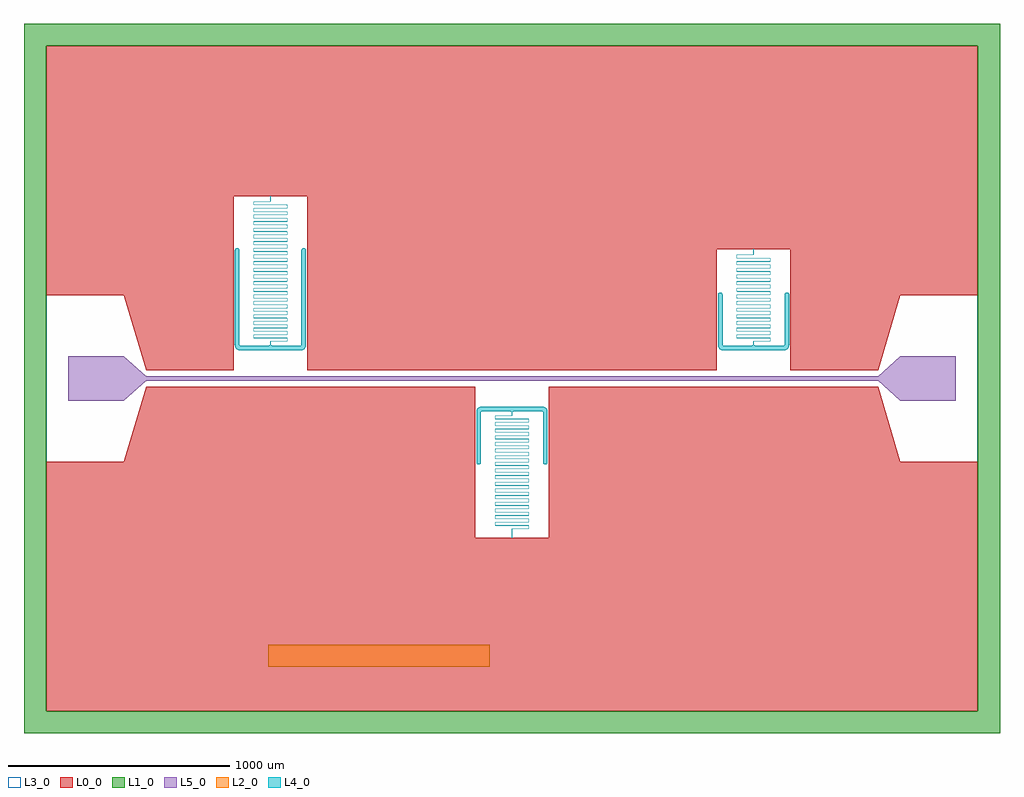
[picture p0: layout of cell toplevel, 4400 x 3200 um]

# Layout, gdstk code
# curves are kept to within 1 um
import gdstk
lib = gdstk.Library(unit=1e-6, precision=1e-09)
def R(c, l, rs):  # rectangles x0, y0, x1, y1
    for r in rs: c.add(gdstk.rectangle(r[:2], r[2:], *l))
def P(c, l, *ps):  # polygons
    for p in ps: c.add(gdstk.Polygon(p, *l))
L0_0 = (0, 0)
L1_0 = (1, 0)
L2_0 = (2, 0)
L3_0 = (3, 0)
L4_0 = (4, 0)
L5_0 = (5, 0)

toplevel = lib.new_cell('toplevel')
P(toplevel, L0_0, [(-924,822.5),(-924,37.5),(924,37.5),(924,582.5),(1254,582.5),(1254,37.5),(1650,37.5),(1750,375),(2100,375),(2100,1500),(-2100,1500),(-2100,375),(-1750,375),(-1650,37.5),(-1254,37.5),(-1254,822.5)],
  [(1650,-37.5),(165,-37.5),(165,-717.5),(-165,-717.5),(-165,-37.5),(-1650,-37.5),(-1750,-375),(-2100,-375),(-2100,-1500),(2100,-1500),(2100,-375),(1750,-375)])
P(toplevel, L1_0, [(2200,1600),(-2200,1600),(-2200,-1500),(-2100,-1500),(-2100,1500),(2100,1500),(2100,-1500),(-2100,-1500),(-2200,-1500),(-2200,-1600),(2200,-1600)])
R(toplevel, L2_0, [(-1100,-1300,-100,-1200)])
R(toplevel, L3_0, [(-2100,-1500,2100,1500)])
P(toplevel, L4_0, [(-957.256,127.5),(-946.018,128.652),(-937.664,132.765),(-931.925,139.852),(-929.25,149.469),(-929,392.861),(-949,392.861),(-949.028,153.36),(-950.06,148.461),(-956.931,147.5),(-1079,147.5),(-1088.7,152.5),(-1088.291,167.175),(-1014.361,167.305),(-1013.703,168.388),(-1013.702,181.589),(-1014.584,182.762),(-1163.666,183.172),(-1163.696,196.609),(-1163.132,197.195),(-1013.928,197.636),(-1013.704,211.63),(-1014.73,212.785),(-1162.888,212.8),(-1163.7,213.606),(-1163.176,227.191),(-1013.961,227.593),(-1013.707,241.683),(-1014.755,242.787),(-1162.94,242.8),(-1163.7,243.591),(-1163.184,257.19),(-1014.035,257.513),(-1013.707,271.683),(-1014.755,272.787),(-1162.94,272.8),(-1163.7,273.591),(-1163.184,287.19),(-1014.118,287.442),(-1013.707,301.683),(-1014.755,302.787),(-1162.935,302.8),(-1163.7,303.591),(-1163.184,317.19),(-1014.211,317.379),(-1013.702,331.56),(-1014.755,332.787),(-1162.935,332.8),(-1163.699,333.48),(-1163.184,347.19),(-1014.407,347.287),(-1013.706,348.346),(-1013.702,361.56),(-1014.755,362.787),(-1162.935,362.8),(-1163.699,363.476),(-1163.184,377.19),(-1014.571,377.241),(-1013.706,378.34),(-1013.702,391.56),(-1015.111,392.8),(-1164.195,392.861),(-1162.964,392.2),(-1014.428,392.03),(-1014.798,377.812),(-1162.888,377.8),(-1163.959,377.492),(-1164.3,376.404),(-1164.287,363.249),(-1163.251,362.213),(-1014.458,362.061),(-1014.798,347.812),(-1162.888,347.8),(-1163.959,347.492),(-1164.3,346.404),(-1164.295,333.352),(-1163.251,332.213),(-1014.535,332.115),(-1014.798,317.812),(-1162.888,317.8),(-1163.959,317.492),(-1164.3,316.404),(-1164.289,303.274),(-1163.251,302.213),(-1014.686,302.17),(-1014.605,287.854),(-1163.245,287.787),(-1164.292,286.683),(-1164.3,273.59),(-1162.97,272.2),(-1014.815,272.19),(-1014.466,257.932),(-1163.245,257.787),(-1164.292,256.683),(-1164.3,243.59),(-1162.97,242.2),(-1014.815,242.19),(-1014.433,227.964),(-1163.251,227.787),(-1164.294,226.665),(-1164.3,213.595),(-1163.987,212.535),(-1162.888,212.2),(-1014.85,212.193),(-1014.303,211.595),(-1014.3,198.612),(-1015.112,197.8),(-1163.238,197.788),(-1164.294,196.654),(-1164.3,183.612),(-1163.982,182.53),(-1162.888,182.2),(-1014.811,182.19),(-1014.45,167.946),(-1088.481,167.746),(-1089.296,166.612),(-1089.3,152.5),(-1099,147.5),(-1221.878,147.504),(-1227.976,148.489),(-1228.998,154.94),(-1229,392.861),(-1249,392.861),(-1248.965,152.829),(-1246.945,141.792),(-1244.619,137.373),(-1241.507,133.761),(-1233.471,129.103),(-1223.255,127.524)],
  [(-1163.433,392.869),(-1163.631,393.067),(-1163.699,393.471),(-1163.698,406.567),(-1163.572,407.03),(-1163.184,407.19),(-1015.036,407.2),(-1014.526,407.252),(-1014.142,407.424),(-1013.875,407.718),(-1013.73,408.129),(-1013.707,421.677),(-1013.797,422.119),(-1014.007,422.459),(-1014.328,422.681),(-1014.755,422.787),(-1162.935,422.8),(-1163.476,422.891),(-1163.678,423.229),(-1163.698,436.567),(-1163.572,437.03),(-1163.184,437.19),(-1015.036,437.2),(-1014.532,437.25),(-1014.148,437.42),(-1013.883,437.705),(-1013.733,438.11),(-1013.707,451.677),(-1013.797,452.119),(-1014.007,452.459),(-1014.328,452.681),(-1014.755,452.787),(-1162.935,452.8),(-1163.471,452.888),(-1163.675,453.213),(-1163.698,466.567),(-1163.572,467.03),(-1163.184,467.19),(-1015.036,467.2),(-1014.532,467.25),(-1014.155,467.415),(-1013.887,467.699),(-1013.737,468.091),(-1013.707,481.677),(-1013.797,482.119),(-1014.007,482.459),(-1014.328,482.681),(-1014.755,482.787),(-1162.935,482.8),(-1163.468,482.887),(-1163.673,483.201),(-1163.698,496.567),(-1163.572,497.03),(-1163.18,497.191),(-1015.041,497.2),(-1014.545,497.247),(-1014.167,497.407),(-1013.898,497.68),(-1013.743,498.065),(-1013.707,511.677),(-1013.797,512.119),(-1014.007,512.459),(-1014.328,512.681),(-1014.755,512.787),(-1162.93,512.8),(-1163.46,512.882),(-1163.67,513.186),(-1163.698,526.567),(-1163.572,527.03),(-1163.18,527.191),(-1015.041,527.2),(-1014.552,527.245),(-1014.18,527.398),(-1013.907,527.667),(-1013.749,528.039),(-1013.707,541.678),(-1013.797,542.119),(-1014.007,542.459),(-1014.328,542.681),(-1014.755,542.787),(-1162.93,542.8),(-1163.454,542.879),(-1163.665,543.168),(-1163.698,556.567),(-1163.572,557.03),(-1163.18,557.191),(-1015.041,557.2),(-1014.558,557.244),(-1014.192,557.39),(-1013.92,557.648),(-1013.757,558.006),(-1013.707,571.672),(-1013.795,572.112),(-1014.002,572.453),(-1014.328,572.681),(-1014.755,572.787),(-1162.93,572.8),(-1163.445,572.875),(-1163.66,573.15),(-1163.698,586.563),(-1163.572,587.03),(-1163.18,587.191),(-1015.041,587.2),(-1014.205,587.383),(-1013.937,587.624),(-1013.768,587.967),(-1013.7,588.547),(-1013.707,601.672),(-1013.795,602.112),(-1014.002,602.453),(-1014.328,602.681),(-1014.755,602.787),(-1162.93,602.8),(-1163.436,602.871),(-1163.654,603.129),(-1163.698,616.563),(-1163.572,617.03),(-1163.18,617.191),(-1015.047,617.2),(-1014.231,617.368),(-1013.961,617.593),(-1013.783,617.921),(-1013.7,618.541),(-1013.707,631.672),(-1013.795,632.112),(-1014.002,632.453),(-1014.328,632.681),(-1014.755,632.787),(-1162.925,632.8),(-1163.421,632.864),(-1163.645,633.102),(-1163.698,646.563),(-1163.572,647.03),(-1163.18,647.191),(-1015.047,647.2),(-1014.25,647.357),(-1013.981,647.57),(-1013.802,647.868),(-1013.7,648.53),(-1013.706,661.665),(-1013.795,662.112),(-1014.002,662.453),(-1014.328,662.681),(-1014.755,662.787),(-1162.925,662.8),(-1163.405,662.858),(-1163.633,663.073),(-1163.7,663.55),(-1163.698,676.558),(-1163.574,677.028),(-1163.18,677.191),(-1015.052,677.2),(-1014.283,677.34),(-1013.831,677.802),(-1013.7,678.519),(-1013.706,691.659),(-1013.795,692.112),(-1014.002,692.453),(-1014.328,692.681),(-1014.755,692.787),(-1162.92,692.8),(-1163.385,692.85),(-1163.618,693.04),(-1163.7,693.54),(-1163.698,706.558),(-1163.574,707.028),(-1163.18,707.191),(-1015.058,707.2),(-1014.328,707.319),(-1013.871,707.724),(-1013.7,708.503),(-1013.706,721.653),(-1013.792,722.106),(-1014.002,722.453),(-1014.328,722.681),(-1014.755,722.787),(-1162.92,722.8),(-1163.361,722.843),(-1163.596,723.003),(-1163.7,723.53),(-1163.698,736.553),(-1163.574,737.028),(-1163.18,737.191),(-1015.063,737.2),(-1014.388,737.295),(-1013.937,737.624),(-1013.76,737.993),(-1013.701,738.48),(-1013.705,751.642),(-1013.79,752.099),(-1013.997,752.448),(-1014.322,752.678),(-1014.749,752.787),(-1162.914,752.8),(-1163.328,752.834),(-1163.565,752.962),(-1163.7,753.52),(-1163.699,766.544),(-1163.575,767.025),(-1163.18,767.191),(-1015.074,767.2),(-1014.473,767.266),(-1014.047,767.502),(-1013.79,767.901),(-1013.701,768.452),(-1013.704,781.618),(-1013.785,782.086),(-1013.991,782.442),(-1014.315,782.675),(-1014.749,782.787),(-1162.909,782.8),(-1163.514,782.916),(-1163.654,783.129),(-1163.699,783.5),(-1163.699,796.505),(-1163.602,796.987),(-1163.287,797.175),(-1090.069,797.2),(-1089.257,797.354),(-1088.843,797.776),(-1088.701,798.457),(-1088.7,822.5),(-1089.3,822.5),(-1089.3,798.52),(-1089.355,798.102),(-1089.535,797.885),(-1090.08,797.8),(-1163.416,797.761),(-1163.795,797.617),(-1164.067,797.37),(-1164.236,797.02),(-1164.298,796.571),(-1164.298,783.429),(-1164.184,782.835),(-1163.864,782.428),(-1163.461,782.249),(-1162.92,782.2),(-1014.82,782.191),(-1014.425,782.025),(-1014.301,781.539),(-1014.3,768.51),(-1014.456,767.941),(-1015.091,767.8),(-1163.251,767.787),(-1163.685,767.675),(-1164.008,767.442),(-1164.213,767.092),(-1164.296,766.63),(-1164.299,753.463),(-1164.226,752.947),(-1164.014,752.564),(-1163.573,752.281),(-1162.931,752.2),(-1014.82,752.191),(-1014.425,752.025),(-1014.302,751.548),(-1014.3,738.525),(-1014.418,737.984),(-1014.653,737.839),(-1015.086,737.8),(-1163.245,737.787),(-1163.678,737.678),(-1164.003,737.448),(-1164.21,737.099),(-1164.295,736.648),(-1164.299,723.491),(-1164.25,723.032),(-1164.097,722.673),(-1163.645,722.308),(-1162.937,722.2),(-1014.82,722.191),(-1014.426,722.028),(-1014.302,721.553),(-1014.3,708.54),(-1014.391,708.024),(-1014.625,707.847),(-1015.08,707.8),(-1163.245,707.787),(-1163.671,707.681),(-1163.998,707.453),(-1164.205,707.112),(-1164.294,706.659),(-1164.3,693.508),(-1164.15,692.763),(-1163.698,692.331),(-1162.948,692.2),(-1014.82,692.191),(-1014.426,692.028),(-1014.302,691.558),(-1014.3,678.545),(-1014.373,678.058),(-1014.602,677.855),(-1015.075,677.8),(-1163.245,677.787),(-1163.671,677.681),(-1163.998,677.453),(-1164.205,677.112),(-1164.294,676.665),(-1164.3,663.525),(-1164.184,662.835),(-1163.73,662.347),(-1162.948,662.2),(-1014.82,662.191),(-1014.426,662.028),(-1014.302,661.558),(-1014.36,648.089),(-1014.586,647.861),(-1015.075,647.8),(-1163.245,647.787),(-1163.671,647.681),(-1163.998,647.453),(-1164.205,647.112),(-1164.294,646.665),(-1164.3,633.536),(-1164.208,632.894),(-1164.029,632.582),(-1163.763,632.364),(-1162.953,632.2),(-1014.82,632.191),(-1014.428,632.03),(-1014.302,631.563),(-1014.35,618.115),(-1014.573,617.867),(-1015.075,617.8),(-1163.245,617.787),(-1163.671,617.681),(-1163.998,617.453),(-1164.205,617.112),(-1164.293,616.672),(-1164.3,603.547),(-1164.226,602.947),(-1164.053,602.612),(-1163.782,602.375),(-1162.953,602.2),(-1014.82,602.191),(-1014.428,602.03),(-1014.302,601.563),(-1014.343,588.139),(-1014.561,587.872),(-1015.07,587.8),(-1163.245,587.787),(-1163.671,587.681),(-1163.998,587.453),(-1164.205,587.112),(-1164.293,586.672),(-1164.238,572.987),(-1164.071,572.636),(-1163.801,572.387),(-1163.435,572.243),(-1162.959,572.2),(-1014.82,572.191),(-1014.428,572.03),(-1014.302,571.563),(-1014.337,558.16),(-1014.549,557.878),(-1015.07,557.8),(-1163.245,557.787),(-1163.671,557.681),(-1163.992,557.459),(-1164.203,557.119),(-1164.293,556.678),(-1164.246,543.019),(-1164.085,542.655),(-1163.814,542.394),(-1163.441,542.244),(-1162.959,542.2),(-1014.82,542.191),(-1014.428,542.03),(-1014.302,541.567),(-1014.332,528.179),(-1014.543,527.881),(-1015.07,527.8),(-1163.245,527.787),(-1163.671,527.681),(-1163.992,527.459),(-1164.203,527.119),(-1164.293,526.678),(-1164.254,513.052),(-1164.097,512.673),(-1163.827,512.403),(-1163.454,512.247),(-1162.959,512.2),(-1014.82,512.191),(-1014.428,512.03),(-1014.302,511.567),(-1014.329,498.194),(-1014.535,497.885),(-1015.065,497.8),(-1163.245,497.787),(-1163.671,497.681),(-1163.992,497.459),(-1164.203,497.119),(-1164.293,496.677),(-1164.26,483.078),(-1164.105,482.686),(-1163.839,482.411),(-1163.461,482.249),(-1162.964,482.2),(-1014.815,482.19),(-1014.428,482.03),(-1014.302,481.567),(-1014.325,468.209),(-1014.529,467.888),(-1015.065,467.8),(-1163.245,467.787),(-1163.671,467.681),(-1163.992,467.459),(-1164.203,467.119),(-1164.293,466.677),(-1164.264,453.097),(-1164.113,452.699),(-1163.845,452.415),(-1163.468,452.25),(-1162.964,452.2),(-1014.815,452.19),(-1014.428,452.03),(-1014.302,451.567),(-1014.323,438.221),(-1014.526,437.89),(-1015.065,437.8),(-1163.245,437.787),(-1163.671,437.681),(-1163.992,437.459),(-1164.203,437.119),(-1164.293,436.677),(-1164.269,423.123),(-1164.121,422.711),(-1163.852,422.42),(-1163.468,422.25),(-1162.964,422.2),(-1014.815,422.19),(-1014.428,422.03),(-1014.302,421.567),(-1014.321,408.233),(-1014.521,407.893),(-1015.065,407.8),(-1163.245,407.787),(-1163.717,407.66),(-1164.058,407.382),(-1164.25,406.968),(-1164.3,406.404),(-1164.294,393.334),(-1164.195,392.861)],
  [(-1229,577.5),(-1231.627,584.256),(-1238.564,587.49),(-1245.756,584.873),(-1248.962,578.372),(-1249,392.861),(-1229,392.861)],
  [(-929,577.5),(-931.627,584.256),(-938.564,587.49),(-945.756,584.873),(-948.962,578.372),(-949,392.861),(-929,392.861)],
  [(-149.564,-387.49),(-143.244,-384.873),(-140.152,-379.236),(-140,-333.11),(-160,-333.11),(-159.848,-379.236),(-156.088,-385.433)],
  [(0.3,-678.55),(0.439,-677.958),(0.956,-677.801),(74.468,-677.75),(74.833,-677.593),(75.113,-677.301),(75.257,-676.935),(75.3,-676.388),(75.295,-663.364),(75.102,-662.68),(74.652,-662.31),(73.926,-662.2),(-74.18,-662.191),(-74.575,-662.025),(-74.699,-661.544),(-74.7,-648.52),(-74.648,-648.112),(-74.494,-647.902),(-73.914,-647.8),(74.251,-647.787),(74.678,-647.678),(75.003,-647.448),(75.21,-647.099),(75.295,-646.642),(75.299,-633.48),(75.208,-632.894),(74.918,-632.471),(74.468,-632.25),(73.937,-632.2),(-74.18,-632.191),(-74.574,-632.028),(-74.698,-631.553),(-74.7,-618.53),(-74.554,-617.95),(-74.321,-617.832),(-73.92,-617.8),(74.245,-617.787),(74.671,-617.681),(74.998,-617.453),(75.208,-617.106),(75.294,-616.653),(75.299,-603.503),(75.234,-602.973),(75.039,-602.593),(74.599,-602.29),(73.942,-602.2),(-74.18,-602.191),(-74.574,-602.028),(-74.698,-601.558),(-74.7,-588.54),(-74.599,-588.008),(-74.385,-587.85),(-73.92,-587.8),(74.245,-587.787),(74.671,-587.681),(74.998,-587.453),(75.205,-587.112),(75.294,-586.659),(75.3,-573.519),(75.129,-572.724),(74.639,-572.305),(73.948,-572.2),(-74.18,-572.191),(-74.574,-572.028),(-74.698,-571.558),(-74.7,-558.55),(-74.615,-558.035),(-74.361,-557.843),(-73.925,-557.8),(74.245,-557.787),(74.671,-557.681),(74.998,-557.453),(75.205,-557.112),(75.294,-556.665),(75.3,-543.53),(75.163,-542.789),(74.75,-542.357),(73.953,-542.2),(-74.18,-542.191),(-74.572,-542.03),(-74.698,-541.563),(-74.7,-528.555),(-74.626,-528.058),(-74.378,-527.848),(-73.925,-527.8),(74.245,-527.787),(74.671,-527.681),(74.998,-527.453),(75.205,-527.112),(75.293,-526.672),(75.3,-513.541),(75.181,-512.828),(74.982,-512.529),(74.691,-512.328),(73.953,-512.2),(-74.18,-512.191),(-74.572,-512.03),(-74.698,-511.563),(-74.7,-498.56),(-74.637,-498.082),(-74.392,-497.853),(-73.93,-497.8),(74.245,-497.787),(74.671,-497.681),(74.998,-497.453),(75.205,-497.112),(75.293,-496.671),(75.3,-483.547),(75.2,-482.875),(75.034,-482.587),(74.756,-482.36),(73.959,-482.2),(-74.18,-482.191),(-74.572,-482.03),(-74.698,-481.563),(-74.645,-468.102),(-74.398,-467.855),(-73.93,-467.8),(74.245,-467.787),(74.671,-467.681),(74.998,-467.453),(75.205,-467.112),(75.293,-466.671),(75.3,-453.558),(75.228,-452.954),(75.08,-452.648),(74.808,-452.39),(74.442,-452.244),(73.959,-452.2),(-74.18,-452.191),(-74.572,-452.03),(-74.698,-451.567),(-74.65,-438.115),(-74.454,-437.879),(-73.93,-437.8),(74.245,-437.787),(74.671,-437.681),(74.992,-437.459),(75.203,-437.119),(75.293,-436.677),(75.3,-423.563),(75.224,-422.94),(75.034,-422.587),(74.782,-422.375),(73.959,-422.2),(-74.18,-422.191),(-74.572,-422.03),(-74.698,-421.567),(-74.67,-408.186),(-74.46,-407.882),(-73.93,-407.8),(74.245,-407.787),(74.671,-407.681),(74.992,-407.459),(75.203,-407.119),(75.293,-406.677),(75.245,-393.013),(75.102,-392.68),(74.833,-392.407),(74.454,-392.247),(73.959,-392.2),(-74.18,-392.191),(-74.572,-392.03),(-74.698,-391.567),(-74.673,-378.201),(-74.468,-377.887),(-73.935,-377.8),(74.245,-377.787),(74.671,-377.681),(74.992,-377.459),(75.203,-377.119),(75.293,-376.677),(75.25,-363.032),(75.085,-362.655),(74.808,-362.39),(74.416,-362.238),(73.964,-362.2),(-74.184,-362.19),(-74.572,-362.03),(-74.698,-361.567),(-74.675,-348.213),(-74.471,-347.888),(-73.935,-347.8),(74.245,-347.787),(74.671,-347.681),(74.992,-347.459),(75.203,-347.119),(75.293,-346.677),(75.267,-333.11),(74.648,-333.11),(74.698,-346.567),(74.572,-347.03),(74.184,-347.19),(-73.964,-347.2),(-74.468,-347.25),(-74.845,-347.415),(-75.113,-347.699),(-75.264,-348.097),(-75.293,-361.677),(-75.203,-362.119),(-74.992,-362.459),(-74.671,-362.681),(-74.245,-362.787),(73.935,-362.8),(74.471,-362.888),(74.675,-363.209),(74.698,-376.567),(74.572,-377.03),(74.184,-377.19),(-73.964,-377.2),(-74.461,-377.249),(-74.839,-377.411),(-75.106,-377.686),(-75.26,-378.078),(-75.293,-391.677),(-75.203,-392.119),(-74.992,-392.459),(-74.671,-392.681),(-74.245,-392.787),(73.935,-392.8),(74.465,-392.885),(74.671,-393.194),(74.698,-406.567),(74.572,-407.03),(74.18,-407.191),(-73.959,-407.2),(-74.454,-407.247),(-74.827,-407.403),(-75.097,-407.673),(-75.241,-408),(-75.293,-421.677),(-75.203,-422.119),(-74.992,-422.459),(-74.671,-422.681),(-74.245,-422.787),(73.93,-422.8),(74.411,-422.86),(74.653,-423.125),(74.698,-436.567),(74.572,-437.03),(74.18,-437.191),(-73.959,-437.2),(-74.776,-437.371),(-75.058,-437.618),(-75.232,-437.967),(-75.3,-438.558),(-75.293,-451.677),(-75.203,-452.119),(-74.992,-452.459),(-74.671,-452.681),(-74.245,-452.787),(73.93,-452.8),(74.405,-452.858),(74.647,-453.108),(74.698,-466.563),(74.572,-467.03),(74.18,-467.191),(-73.959,-467.2),(-74.763,-467.364),(-75.044,-467.599),(-75.208,-467.894),(-75.3,-468.552),(-75.293,-481.671),(-75.205,-482.112),(-74.998,-482.453),(-74.671,-482.681),(-74.245,-482.787),(73.93,-482.8),(74.439,-482.872),(74.641,-483.092),(74.698,-496.563),(74.572,-497.03),(74.18,-497.191),(-73.953,-497.2),(-74.743,-497.353),(-75.024,-497.576),(-75.21,-497.901),(-75.3,-498.547),(-75.293,-511.671),(-75.205,-512.112),(-74.998,-512.453),(-74.671,-512.681),(-74.245,-512.787),(73.925,-512.8),(74.382,-512.849),(74.632,-513.07),(74.7,-513.56),(74.698,-526.563),(74.572,-527.03),(74.18,-527.191),(-73.953,-527.2),(-74.685,-527.325),(-74.97,-527.518),(-75.172,-527.809),(-75.3,-528.536),(-75.294,-541.665),(-75.205,-542.112),(-74.998,-542.453),(-74.671,-542.681),(-74.245,-542.787),(73.925,-542.8),(74.414,-542.861),(74.622,-543.049),(74.7,-543.555),(74.698,-556.558),(74.574,-557.028),(74.18,-557.191),(-73.948,-557.2),(-74.652,-557.31),(-74.942,-557.491),(-75.146,-557.757),(-75.3,-558.525),(-75.294,-571.665),(-75.205,-572.112),(-74.998,-572.453),(-74.671,-572.681),(-74.245,-572.787),(73.925,-572.8),(74.398,-572.855),(74.607,-573.021),(74.7,-573.545),(74.698,-586.558),(74.574,-587.028),(74.18,-587.191),(-73.948,-587.2),(-74.619,-587.297),(-75.062,-587.624),(-75.243,-588.006),(-75.3,-588.508),(-75.294,-601.659),(-75.205,-602.112),(-74.998,-602.453),(-74.671,-602.681),(-74.245,-602.787),(73.92,-602.8),(74.332,-602.835),(74.566,-602.964),(74.7,-603.54),(74.698,-616.553),(74.574,-617.028),(74.18,-617.191),(-73.937,-617.2),(-74.494,-617.257),(-74.959,-617.508),(-75.222,-617.934),(-75.299,-618.491),(-75.295,-631.648),(-75.21,-632.099),(-75.003,-632.448),(-74.678,-632.678),(-74.245,-632.787),(73.914,-632.8),(74.54,-632.937),(74.7,-633.525),(74.698,-646.548),(74.575,-647.025),(74.18,-647.191),(-73.931,-647.2),(-74.435,-647.243),(-74.82,-647.398),(-75.184,-647.835),(-75.299,-648.463),(-75.296,-661.63),(-75.213,-662.092),(-75.008,-662.442),(-74.685,-662.675),(-74.251,-662.787),(74.411,-662.86),(74.628,-663.061),(74.7,-663.51),(74.699,-676.515),(74.601,-676.989),(74.287,-677.175),(1.058,-677.2),(0.526,-677.252),(0.136,-677.428),(-0.195,-677.861),(-0.3,-678.508),(-0.3,-717.5),(0.3,-717.5)],
  [(150.436,-387.49),(156.756,-384.873),(159.848,-379.236),(160,-333.11),(140,-333.11),(140.152,-379.236),(143.912,-385.433)],
  [(160,-155.846),(158.848,-144.518),(154.523,-135.9),(147.232,-130.22),(137.094,-127.664),(-133.348,-127.508),(-141.658,-128.327),(-148.342,-130.789),(-153.136,-134.363),(-156.634,-139.02),(-158.884,-144.652),(-159.905,-151.426),(-160,-333.11),(-140,-333.11),(-139.962,-153.083),(-138.918,-148.445),(-132.069,-147.5),(-10,-147.5),(-0.3,-152.5),(-0.709,-167.175),(-74.639,-167.305),(-75.296,-168.388),(-75.3,-181.394),(-74.416,-182.762),(74.65,-183.115),(74.132,-197.195),(-74.976,-197.524),(-75.296,-211.624),(-74.276,-212.784),(73.888,-212.8),(74.7,-213.612),(74.163,-227.192),(-74.9,-227.456),(-75.294,-241.653),(-74.245,-242.787),(73.888,-242.8),(74.7,-243.612),(74.184,-257.19),(-74.808,-257.39),(-75.296,-271.624),(-74.269,-272.785),(73.888,-272.8),(74.698,-273.423),(74.176,-287.191),(-74.645,-287.308),(-75.293,-288.328),(-75.298,-301.56),(-74.245,-302.787),(73.935,-302.8),(74.699,-303.466),(74.184,-317.19),(-74.416,-317.238),(-75.293,-318.322),(-75.298,-331.56),(-73.888,-332.8),(75.267,-333.11),(73.964,-332.2),(-74.542,-332.061),(-74.197,-317.811),(73.888,-317.8),(75.3,-316.404),(75.293,-303.328),(74.245,-302.213),(-74.465,-302.115),(-74.197,-287.811),(73.997,-287.8),(75.3,-286.378),(75.292,-273.31),(74.238,-272.212),(-74.291,-272.175),(-74.421,-257.864),(74.257,-257.786),(75.287,-256.751),(75.3,-243.601),(73.888,-242.2),(-74.171,-242.191),(-74.509,-227.912),(74.22,-227.789),(75.293,-226.677),(75.3,-213.606),(73.888,-212.2),(-74.15,-212.193),(-74.7,-198.612),(-73.888,-197.8),(74.238,-197.788),(75.294,-196.654),(75.3,-183.612),(73.888,-182.2),(-74.189,-182.19),(-74.519,-167.919),(-0.519,-167.746),(0.296,-166.612),(0.3,-152.5),(10,-147.5),(132.878,-147.504),(138.839,-148.392),(139.997,-154.78),(140,-333.11),(160,-333.11)],
  [(1220.744,127.5),(1231.184,128.448),(1239.263,131.974),(1245.064,138.055),(1248.333,146.619),(1249,272.947),(1229,272.947),(1228.929,152.427),(1227.839,148.392),(1221.069,147.5),(1099,147.5),(1089.3,152.5),(1089.709,167.175),(1163.639,167.305),(1164.3,181.394),(1163.416,182.762),(1014.371,183.064),(1014.811,197.19),(1163.814,197.394),(1164.298,211.565),(1163.238,212.788),(1014.301,213.461),(1014.815,227.19),(1163.625,227.3),(1164.298,241.56),(1163.245,242.787),(1015.065,242.8),(1014.3,243.575),(1014.82,257.191),(1163.403,257.236),(1164.29,258.286),(1164.298,271.56),(1162.888,272.8),(1013.774,272.947),(1015.041,272.2),(1163.465,272.115),(1163.189,257.81),(1015.111,257.8),(1013.7,256.404),(1013.709,243.298),(1014.761,242.212),(1163.314,242.17),(1163.424,227.865),(1014.755,227.787),(1013.707,226.677),(1013.7,213.574),(1015.036,212.2),(1163.18,212.191),(1163.7,198.622),(1162.965,197.8),(1014.798,197.791),(1013.707,196.684),(1013.7,183.622),(1015.111,182.2),(1163.189,182.19),(1163.482,167.894),(1089.519,167.746),(1088.704,166.612),(1088.7,152.5),(1079,147.5),(956.602,147.501),(950.512,148.21),(949.396,149.981),(949.004,154.622),(949,272.947),(929,272.947),(929.204,149.941),(930.427,143.574),(932.936,138.055),(936.621,133.645),(941.49,130.356),(947.991,128.192),(956.042,127.504)],
  [(1014.435,272.962),(1014.3,273.575),(1014.302,286.567),(1014.428,287.03),(1014.82,287.191),(1162.959,287.2),(1163.448,287.245),(1163.82,287.398),(1164.093,287.667),(1164.251,288.039),(1164.293,301.678),(1164.203,302.119),(1163.992,302.459),(1163.671,302.681),(1163.245,302.787),(1015.07,302.8),(1014.546,302.879),(1014.335,303.168),(1014.302,316.567),(1014.428,317.03),(1014.82,317.191),(1162.959,317.2),(1163.441,317.244),(1163.808,317.39),(1164.08,317.648),(1164.243,318.006),(1164.293,331.671),(1164.205,332.112),(1163.998,332.453),(1163.671,332.681),(1163.245,332.787),(1015.07,332.8),(1014.555,332.875),(1014.34,333.15),(1014.302,346.563),(1014.428,347.03),(1014.82,347.191),(1162.959,347.2),(1163.795,347.383),(1164.062,347.624),(1164.232,347.967),(1164.3,348.547),(1164.293,361.671),(1164.205,362.112),(1163.998,362.453),(1163.671,362.681),(1163.245,362.787),(1015.07,362.8),(1014.564,362.871),(1014.346,363.129),(1014.302,376.563),(1014.428,377.03),(1014.82,377.191),(1162.953,377.2),(1163.769,377.368),(1164.039,377.593),(1164.217,377.921),(1164.3,378.541),(1164.293,391.671),(1164.205,392.112),(1163.998,392.453),(1163.671,392.681),(1163.245,392.787),(1015.075,392.8),(1014.579,392.864),(1014.355,393.102),(1014.302,406.563),(1014.428,407.03),(1014.82,407.191),(1162.953,407.2),(1163.75,407.357),(1164.019,407.57),(1164.198,407.868),(1164.3,408.53),(1164.294,421.665),(1164.205,422.112),(1163.998,422.453),(1163.671,422.681),(1163.245,422.787),(1015.075,422.8),(1014.595,422.858),(1014.367,423.073),(1014.3,423.55),(1014.302,436.558),(1014.426,437.027),(1014.82,437.191),(1162.948,437.2),(1163.717,437.34),(1164.169,437.802),(1164.3,438.519),(1164.294,451.659),(1164.205,452.112),(1163.998,452.453),(1163.671,452.681),(1163.245,452.787),(1015.08,452.8),(1014.615,452.85),(1014.382,453.04),(1014.3,453.54),(1014.302,466.558),(1014.426,467.027),(1014.82,467.191),(1162.942,467.2),(1163.671,467.319),(1164.129,467.724),(1164.3,468.503),(1164.294,481.653),(1164.208,482.106),(1163.998,482.453),(1163.671,482.681),(1163.245,482.787),(1015.08,482.8),(1014.639,482.843),(1014.404,483.003),(1014.3,483.53),(1014.302,496.553),(1014.426,497.027),(1014.82,497.191),(1162.937,497.2),(1163.612,497.295),(1164.062,497.624),(1164.24,497.993),(1164.299,498.48),(1164.295,511.642),(1164.21,512.099),(1164.003,512.448),(1163.678,512.678),(1163.251,512.787),(1015.086,512.8),(1014.671,512.834),(1014.435,512.962),(1014.3,513.52),(1014.301,526.544),(1014.425,527.025),(1014.82,527.191),(1162.926,527.2),(1163.527,527.266),(1163.953,527.502),(1164.21,527.901),(1164.299,528.452),(1164.296,541.618),(1164.215,542.086),(1164.008,542.442),(1163.685,542.675),(1163.251,542.787),(1015.091,542.8),(1014.486,542.916),(1014.346,543.129),(1014.301,543.5),(1014.301,556.505),(1014.398,556.987),(1014.713,557.175),(1087.931,557.2),(1088.743,557.354),(1089.157,557.776),(1089.299,558.457),(1089.3,582.5),(1088.7,582.5),(1088.7,558.52),(1088.645,558.102),(1088.465,557.885),(1087.92,557.8),(1014.584,557.761),(1014.205,557.617),(1013.933,557.37),(1013.764,557.02),(1013.702,556.571),(1013.702,543.429),(1013.816,542.835),(1014.136,542.428),(1014.539,542.249),(1015.079,542.2),(1163.18,542.191),(1163.575,542.025),(1163.699,541.539),(1163.7,528.51),(1163.544,527.941),(1162.909,527.8),(1014.749,527.787),(1014.315,527.675),(1013.991,527.442),(1013.787,527.092),(1013.704,526.63),(1013.701,513.463),(1013.774,512.947),(1013.986,512.564),(1014.427,512.281),(1015.069,512.2),(1163.18,512.191),(1163.575,512.025),(1163.698,511.548),(1163.7,498.525),(1163.582,497.984),(1163.347,497.839),(1162.914,497.8),(1014.755,497.787),(1014.322,497.678),(1013.997,497.448),(1013.79,497.099),(1013.705,496.647),(1013.701,483.491),(1013.75,483.032),(1013.903,482.673),(1014.355,482.308),(1015.063,482.2),(1163.18,482.191),(1163.574,482.027),(1163.698,481.553),(1163.7,468.54),(1163.609,468.024),(1163.375,467.847),(1162.92,467.8),(1014.755,467.787),(1014.328,467.681),(1014.002,467.453),(1013.795,467.112),(1013.706,466.659),(1013.7,453.508),(1013.85,452.763),(1014.302,452.331),(1015.052,452.2),(1163.18,452.191),(1163.574,452.027),(1163.698,451.558),(1163.7,438.545),(1163.626,438.058),(1163.398,437.855),(1162.925,437.8),(1014.755,437.787),(1014.328,437.681),(1014.002,437.453),(1013.795,437.112),(1013.706,436.665),(1013.7,423.525),(1013.816,422.835),(1014.002,422.547),(1014.27,422.347),(1015.052,422.2),(1163.18,422.191),(1163.574,422.027),(1163.698,421.558),(1163.64,408.089),(1163.414,407.861),(1162.925,407.8),(1014.755,407.787),(1014.328,407.681),(1014.002,407.453),(1013.795,407.112),(1013.706,406.665),(1013.7,393.536),(1013.792,392.894),(1013.971,392.582),(1014.237,392.364),(1015.047,392.2),(1163.18,392.191),(1163.572,392.03),(1163.698,391.563),(1163.649,378.115),(1163.427,377.867),(1162.925,377.8),(1014.755,377.787),(1014.328,377.681),(1014.002,377.453),(1013.795,377.112),(1013.707,376.671),(1013.7,363.547),(1013.774,362.947),(1013.947,362.612),(1014.218,362.375),(1015.047,362.2),(1163.18,362.191),(1163.572,362.03),(1163.698,361.563),(1163.657,348.139),(1163.439,347.872),(1162.93,347.8),(1014.755,347.787),(1014.328,347.681),(1014.002,347.453),(1013.795,347.112),(1013.707,346.671),(1013.762,332.987),(1013.928,332.636),(1014.199,332.387),(1014.565,332.243),(1015.041,332.2),(1163.18,332.191),(1163.572,332.03),(1163.698,331.563),(1163.663,318.16),(1163.451,317.878),(1162.93,317.8),(1014.755,317.787),(1014.328,317.681),(1014.007,317.459),(1013.797,317.119),(1013.707,316.678),(1013.753,303.019),(1013.915,302.655),(1014.186,302.394),(1014.558,302.244),(1015.041,302.2),(1163.18,302.191),(1163.572,302.03),(1163.698,301.567),(1163.668,288.179),(1163.457,287.881),(1162.93,287.8),(1014.755,287.787),(1014.328,287.681),(1013.976,287.424),(1013.764,287.02),(1013.702,286.56),(1013.703,273.406),(1013.774,272.947)],
  [(949,377.5),(946.373,384.256),(939.872,387.462),(932.912,385.433),(929.152,379.236),(929,272.947),(949,272.947)],
  [(1249,377.5),(1246.373,384.256),(1239.872,387.462),(1232.912,385.433),(1229.152,379.236),(1229,272.947),(1249,272.947)])
P(toplevel, L5_0, [(-1650,10),(-1750,100),(-2000,100),(-2000,-100),(-1750,-100),(-1650,-10),(1650,-10),(1750,-100),(2000,-100),(2000,100),(1750,100),(1650,10)])

lib.write_gds('toplevel.gds')
